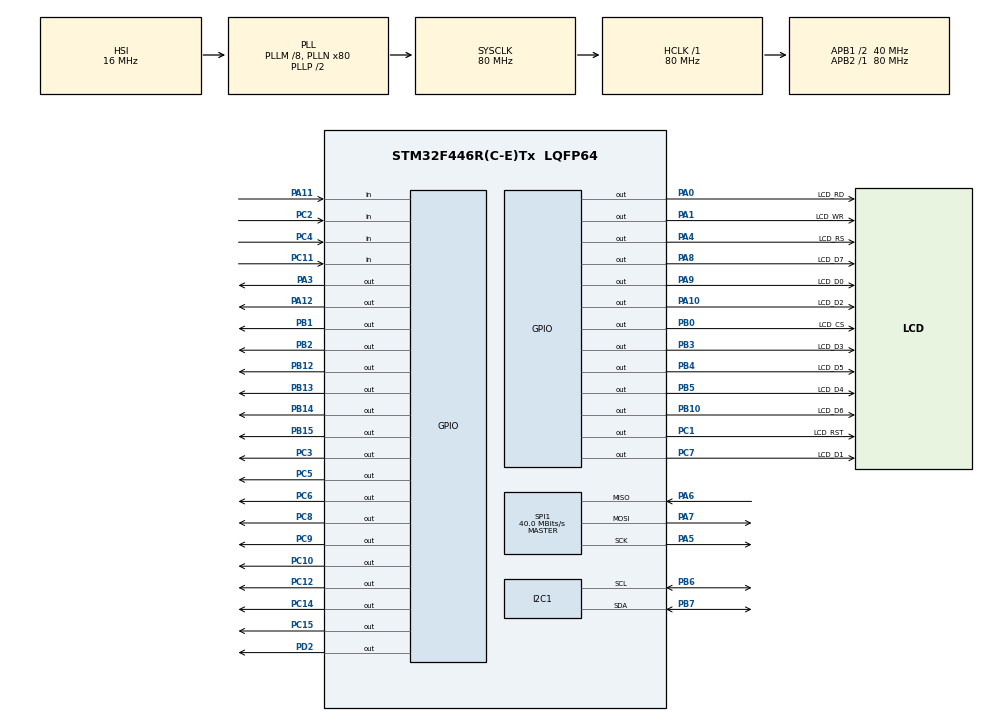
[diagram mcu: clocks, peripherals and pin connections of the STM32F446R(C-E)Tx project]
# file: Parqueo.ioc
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Mcu.Family=STM32F4
Mcu.Name=STM32F446R(C-E)Tx
Mcu.Package=LQFP64
NVIC.PriorityGroup=NVIC_PRIORITYGROUP_4
PA0-WKUP.GPIO_Label=LCD_RD
PA0-WKUP.GPIO_Speed=GPIO_SPEED_FREQ_HIGH
PA0-WKUP.Signal=GPIO_Output
PA1.GPIO_Label=LCD_WR
PA1.GPIO_Speed=GPIO_SPEED_FREQ_HIGH
PA1.Signal=GPIO_Output
PA10.GPIO_Label=LCD_D2
PA10.GPIO_Speed=GPIO_SPEED_FREQ_HIGH
PA10.Signal=GPIO_Output
PA11.Signal=GPIO_Input
PA12.Signal=GPIO_Output
PA13.Mode=Serial_Wire
PA13.Signal=SYS_JTMS-SWDIO
PA14.Mode=Serial_Wire
PA14.Signal=SYS_JTCK-SWCLK
PA3.Signal=GPIO_Output
PA4.GPIO_Label=LCD_RS
PA4.GPIO_Speed=GPIO_SPEED_FREQ_HIGH
PA4.Signal=GPIO_Output
PA5.Mode=Full_Duplex_Master
PA5.Signal=SPI1_SCK
PA6.Mode=Full_Duplex_Master
PA6.Signal=SPI1_MISO
PA7.Mode=Full_Duplex_Master
PA7.Signal=SPI1_MOSI
PA8.GPIO_Label=LCD_D7
PA8.GPIO_Speed=GPIO_SPEED_FREQ_HIGH
PA8.Signal=GPIO_Output
PA9.GPIO_Label=LCD_D0
PA9.GPIO_Speed=GPIO_SPEED_FREQ_HIGH
PA9.Signal=GPIO_Output
PB0.GPIO_Label=LCD_CS
PB0.GPIO_Speed=GPIO_SPEED_FREQ_HIGH
PB0.Signal=GPIO_Output
PB1.Signal=GPIO_Output
PB10.GPIO_Label=LCD_D6
PB10.GPIO_Speed=GPIO_SPEED_FREQ_HIGH
PB10.Signal=GPIO_Output
PB12.Signal=GPIO_Output
PB13.Signal=GPIO_Output
PB14.Signal=GPIO_Output
PB15.Signal=GPIO_Output
PB2.Signal=GPIO_Output
PB3.GPIO_Label=LCD_D3
PB3.GPIO_Speed=GPIO_SPEED_FREQ_HIGH
PB3.Signal=GPIO_Output
PB4.GPIO_Label=LCD_D5
PB4.GPIO_Speed=GPIO_SPEED_FREQ_HIGH
PB4.Signal=GPIO_Output
PB5.GPIO_Label=LCD_D4
PB5.GPIO_Speed=GPIO_SPEED_FREQ_HIGH
PB5.Signal=GPIO_Output
PB6.Mode=I2C
PB6.Signal=I2C1_SCL
PB7.Mode=I2C
PB7.Signal=I2C1_SDA
PC1.GPIO_Label=LCD_RST
PC1.GPIO_Speed=GPIO_SPEED_FREQ_HIGH
PC1.Signal=GPIO_Output
PC10.Signal=GPIO_Output
PC11.Signal=GPIO_Input
PC12.Signal=GPIO_Output
PC14-OSC32_IN.Signal=GPIO_Output
PC15-OSC32_OUT.Signal=GPIO_Output
PC2.Signal=GPIO_Input
PC3.Signal=GPIO_Output
PC4.Signal=GPIO_Input
PC5.Signal=GPIO_Output
PC6.Signal=GPIO_Output
PC7.GPIO_Label=LCD_D1
PC7.GPIO_Speed=GPIO_SPEED_FREQ_HIGH
PC7.Signal=GPIO_Output
PC8.Signal=GPIO_Output
PC9.Signal=GPIO_Output
PD2.Signal=GPIO_Output
PH0-OSC_IN.Mode=HSE-External-Oscillator
PH0-OSC_IN.Signal=RCC_OSC_IN
PH1-OSC_OUT.Mode=HSE-External-Oscillator
PH1-OSC_OUT.Signal=RCC_OSC_OUT
ProjectManager.HeapSize=0x200
ProjectManager.StackSize=0x400
ProjectManager.TargetToolchain=STM32CubeIDE
RCC.AHBFreq_Value=80000000
RCC.APB1CLKDivider=RCC_HCLK_DIV2
RCC.APB1Freq_Value=40000000
RCC.APB1TimFreq_Value=80000000
RCC.APB2Freq_Value=80000000
RCC.APB2TimFreq_Value=80000000
RCC.CortexFreq_Value=80000000
RCC.HCLKFreq_Value=80000000
RCC.PLLM=8
RCC.PLLN=80
RCC.SYSCLKFreq_VALUE=80000000
RCC.SYSCLKSource=RCC_SYSCLKSOURCE_PLLCLK
RCC.USBFreq_Value=80000000
RCC.VCOOutputFreq_Value=160000000
SPI1.CalculateBaudRate=40.0 MBits/s
SPI1.Direction=SPI_DIRECTION_2LINES
SPI1.Mode=SPI_MODE_MASTER
SPI1.VirtualType=VM_MASTER
board=custom

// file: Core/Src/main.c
/* USER CODE BEGIN Header */
/**
 ******************************************************************************
 * @file           : main.c
 * @brief          : Main program body
 ******************************************************************************
 * @attention
 *
 * Copyright (c) 2024 STMicroelectronics.
 * All rights reserved.
 *
 ******************************************************************************
 */
/* USER CODE END Header */
#include "main.h"

/* USER CODE BEGIN Includes */
#include "ili9341.h"
/* USER CODE END Includes */

I2C_HandleTypeDef hi2c1;

SPI_HandleTypeDef hspi1;

/* USER CODE BEGIN PV */
extern uint8_t carro1[];
extern uint8_t carro2[];
extern uint8_t carro3[];
extern uint8_t carro4[];
unsigned int yellow = 0xFFE0; // Código de color amarillo en RGB565
unsigned int red = 0xF800;    // Código de color rojo en RGB565
unsigned int green = 0x07E0;  // Código de color verde en RGB565
int parqueos_disponibles = 4; // Contador de parqueos disponibles (3 por defecto)
uint8_t sensorStates[4] = {0, 0, 0, 0}; // Estado de cada sensor

/* USER CODE END PV */

void SystemClock_Config(void);
static void MX_GPIO_Init(void);
static void MX_SPI1_Init(void);
static void MX_I2C1_Init(void);

/* USER CODE BEGIN 0 */

// Funciones para mostrar números en el display de 7 segmentos
// Función para mostrar "0" en el display de 7 segmentos
// Función para mostrar "0" en el display de 7 segmentos (ánodo común)
// Función para mostrar "0" en el display de 7 segmentos
void Display_ShowZero() {
    HAL_GPIO_WritePin(GPIOB, GPIO_PIN_13, GPIO_PIN_RESET); // Segmento A
    HAL_GPIO_WritePin(GPIOC, GPIO_PIN_5, GPIO_PIN_RESET);  // Segmento B
    HAL_GPIO_WritePin(GPIOB, GPIO_PIN_1, GPIO_PIN_RESET);  // Segmento C
    HAL_GPIO_WritePin(GPIOB, GPIO_PIN_2, GPIO_PIN_RESET);  // Segmento D
    HAL_GPIO_WritePin(GPIOB, GPIO_PIN_12, GPIO_PIN_RESET); // Segmento E
    HAL_GPIO_WritePin(GPIOB, GPIO_PIN_15, GPIO_PIN_RESET); // Segmento F
    HAL_GPIO_WritePin(GPIOC, GPIO_PIN_6, GPIO_PIN_SET);    // Segmento G apagado
}

// Función para mostrar "1" en el display de 7 segmentos
void Display_ShowOne() {
    HAL_GPIO_WritePin(GPIOB, GPIO_PIN_13, GPIO_PIN_SET);   // Segmento A apagado
    HAL_GPIO_WritePin(GPIOC, GPIO_PIN_5, GPIO_PIN_RESET);  // Segmento B
    HAL_GPIO_WritePin(GPIOB, GPIO_PIN_1, GPIO_PIN_RESET);  // Segmento C
    HAL_GPIO_WritePin(GPIOB, GPIO_PIN_2, GPIO_PIN_SET);    // Segmento D apagado
    HAL_GPIO_WritePin(GPIOB, GPIO_PIN_12, GPIO_PIN_SET);   // Segmento E apagado
    HAL_GPIO_WritePin(GPIOB, GPIO_PIN_15, GPIO_PIN_SET);   // Segmento F apagado
    HAL_GPIO_WritePin(GPIOC, GPIO_PIN_6, GPIO_PIN_SET);    // Segmento G apagado
}

// Función para mostrar "2" en el display de 7 segmentos
void Display_ShowTwo() {
    HAL_GPIO_WritePin(GPIOB, GPIO_PIN_13, GPIO_PIN_RESET); // Segmento A
    HAL_GPIO_WritePin(GPIOC, GPIO_PIN_5, GPIO_PIN_RESET);  // Segmento B
    HAL_GPIO_WritePin(GPIOB, GPIO_PIN_1, GPIO_PIN_SET);    // Segmento C apagado
    HAL_GPIO_WritePin(GPIOB, GPIO_PIN_2, GPIO_PIN_RESET);  // Segmento D
    HAL_GPIO_WritePin(GPIOB, GPIO_PIN_12, GPIO_PIN_RESET); // Segmento E
    HAL_GPIO_WritePin(GPIOB, GPIO_PIN_15, GPIO_PIN_SET);   // Segmento F apagado
    HAL_GPIO_WritePin(GPIOC, GPIO_PIN_6, GPIO_PIN_RESET);  // Segmento G
}

// Función para mostrar "3" en el display de 7 segmentos
void Display_ShowThree() {
    HAL_GPIO_WritePin(GPIOB, GPIO_PIN_13, GPIO_PIN_RESET); // Segmento A
    HAL_GPIO_WritePin(GPIOC, GPIO_PIN_5, GPIO_PIN_RESET);  // Segmento B
    HAL_GPIO_WritePin(GPIOB, GPIO_PIN_1, GPIO_PIN_RESET);  // Segmento C
    HAL_GPIO_WritePin(GPIOB, GPIO_PIN_2, GPIO_PIN_RESET);  // Segmento D
    HAL_GPIO_WritePin(GPIOB, GPIO_PIN_12, GPIO_PIN_SET);   // Segmento E apagado
    HAL_GPIO_WritePin(GPIOB, GPIO_PIN_15, GPIO_PIN_SET);   // Segmento F apagado
    HAL_GPIO_WritePin(GPIOC, GPIO_PIN_6, GPIO_PIN_RESET);  // Segmento G
}

// Función para mostrar "4" en el display de 7 segmentos
void Display_ShowFour() {
    HAL_GPIO_WritePin(GPIOB, GPIO_PIN_13, GPIO_PIN_SET);   // Segmento A apagado
    HAL_GPIO_WritePin(GPIOC, GPIO_PIN_5, GPIO_PIN_RESET);  // Segmento B
    HAL_GPIO_WritePin(GPIOB, GPIO_PIN_1, GPIO_PIN_RESET);  // Segmento C
    HAL_GPIO_WritePin(GPIOB, GPIO_PIN_2, GPIO_PIN_SET);    // Segmento D apagado
    HAL_GPIO_WritePin(GPIOB, GPIO_PIN_12, GPIO_PIN_SET);   // Segmento E apagado
    HAL_GPIO_WritePin(GPIOB, GPIO_PIN_15, GPIO_PIN_RESET); // Segmento F
    HAL_GPIO_WritePin(GPIOC, GPIO_PIN_6, GPIO_PIN_RESET);  // Segmento G
}

/* USER CODE END 0 */

int main(void)
{

  /* MCU Configuration--------------------------------------------------------*/

  /* Reset of all peripherals, Initializes the Flash interface and the Systick. */
  HAL_Init();

  /* Configure the system clock */
  SystemClock_Config();

  /* Initialize all configured peripherals */
  MX_GPIO_Init();
  MX_SPI1_Init();
  MX_I2C1_Init();
  /* USER CODE BEGIN 2 */
  // Inicializar la pantalla
  LCD_Init();
  FillRect(0, 0, 320, 240, 0x0000); // Fondo negro

  // Mostrar los carros en sus posiciones iniciales
  LCD_Bitmap(150, 30, 70, 70, carro1);  // Carro 1
  LCD_Bitmap(160, 160, 50, 50, carro2); // Carro 2
  LCD_Bitmap(40, 30, 70, 70, carro3);   // Carro 3
  LCD_Bitmap(40, 150, 80, 80, carro4);  // Carro 4

  // Líneas amarillas para cada espacio de estacionamiento
  // Configuración de las líneas amarillas para cada carro...

  // Mostrar el texto "Disponibles" en la parte derecha y el contador debajo
  LCD_Print("Disponibles", 225, 120, 1, yellow, 0x0000); // Texto en la derecha

  /* USER CODE END 2 */

  /* Infinite loop */
  /* USER CODE BEGIN WHILE */
  while (1) {
          parqueos_disponibles = 4;

          // Carro 1
          GPIO_PinState sensor1State = HAL_GPIO_ReadPin(GPIOC, GPIO_PIN_4);
          if (sensor1State == GPIO_PIN_RESET) {
              sensorStates[0] = 1; // Ocupado
              LCD_Bitmap(150, 30, 70, 70, carro1);
              FillRect(155, 110, 20, 20, red);
              HAL_GPIO_WritePin(GPIOC, GPIO_PIN_8, GPIO_PIN_SET);  // LED ROJO Carro 1
              HAL_GPIO_WritePin(GPIOA, GPIO_PIN_12, GPIO_PIN_RESET); // LED VERDE Carro 1
              parqueos_disponibles--;
          } else {
              sensorStates[0] = 0; // Disponible
              FillRect(150, 30, 70, 70, 0x0000);
              FillRect(155, 110, 20, 20, green);
              HAL_GPIO_WritePin(GPIOC, GPIO_PIN_8, GPIO_PIN_RESET);
              HAL_GPIO_WritePin(GPIOA, GPIO_PIN_12, GPIO_PIN_SET);
          }

          // Carro 2
          GPIO_PinState sensor2State = HAL_GPIO_ReadPin(GPIOA, GPIO_PIN_11);
          if (sensor2State == GPIO_PIN_RESET) {
              sensorStates[1] = 1;
              LCD_Bitmap(160, 160, 50, 50, carro2);
              FillRect(165, 220, 20, 20, red);
              HAL_GPIO_WritePin(GPIOB, GPIO_PIN_14, GPIO_PIN_SET);
              HAL_GPIO_WritePin(GPIOC, GPIO_PIN_3, GPIO_PIN_RESET);
              parqueos_disponibles--;
          } else {
              sensorStates[1] = 0;
              FillRect(160, 160, 50, 50, 0x0000);
              FillRect(165, 220, 20, 20, green);
              HAL_GPIO_WritePin(GPIOB, GPIO_PIN_14, GPIO_PIN_RESET);
              HAL_GPIO_WritePin(GPIOC, GPIO_PIN_3, GPIO_PIN_SET);
          }

          // Carro 3
          GPIO_PinState sensor3State = HAL_GPIO_ReadPin(GPIOC, GPIO_PIN_2);
          if (sensor3State == GPIO_PIN_RESET) {
              sensorStates[2] = 1;
              LCD_Bitmap(40, 30, 70, 70, carro3);
              FillRect(50, 110, 20, 20, red);
              HAL_GPIO_WritePin(GPIOC, GPIO_PIN_10, GPIO_PIN_SET);
              HAL_GPIO_WritePin(GPIOC, GPIO_PIN_12, GPIO_PIN_RESET);
              parqueos_disponibles--;
          } else {
              sensorStates[2] = 0;
              FillRect(40, 30, 70, 70, 0x0000);
              FillRect(50, 110, 20, 20, green);
              HAL_GPIO_WritePin(GPIOC, GPIO_PIN_10, GPIO_PIN_RESET);
              HAL_GPIO_WritePin(GPIOC, GPIO_PIN_12, GPIO_PIN_SET);
          }

          // Carro 4
          GPIO_PinState sensor4State = HAL_GPIO_ReadPin(GPIOC, GPIO_PIN_11);
          if (sensor4State == GPIO_PIN_RESET) {
              sensorStates[3] = 1;
              LCD_Bitmap(40, 150, 80, 80, carro4);
              FillRect(50, 220, 20, 20, red);
              HAL_GPIO_WritePin(GPIOC, GPIO_PIN_9, GPIO_PIN_SET);
              HAL_GPIO_WritePin(GPIOD, GPIO_PIN_2, GPIO_PIN_RESET);
              parqueos_disponibles--;
          } else {
              sensorStates[3] = 0;
              FillRect(40, 150, 80, 80, 0x0000);
              FillRect(50, 220, 20, 20, green);
              HAL_GPIO_WritePin(GPIOC, GPIO_PIN_9, GPIO_PIN_RESET);
              HAL_GPIO_WritePin(GPIOD, GPIO_PIN_2, GPIO_PIN_SET);
          }

          // Asegurarse de que el contador no sea negativo
          if (parqueos_disponibles < 0) parqueos_disponibles = 0;

          // Actualizar el display de 7 segmentos
          switch(parqueos_disponibles) {
              case 4: Display_ShowFour(); break;
              case 3: Display_ShowThree(); break;
              case 2: Display_ShowTwo(); break;
              case 1: Display_ShowOne(); break;
              case 0: Display_ShowZero(); break;
          }

          // Enviar los estados de los sensores al ESP32 a través de I2C
          HAL_I2C_Master_Transmit(&hi2c1, (0x08 << 1), sensorStates, 4, HAL_MAX_DELAY);

          // Actualizar el contador de parqueos disponibles en pantalla LCD
          char display_text[2];
          sprintf(display_text, "%d", parqueos_disponibles);
          LCD_Print(display_text, 270, 135, 1, yellow, 0x0000);

          HAL_Delay(100);
    /* USER CODE END WHILE */

  }
}

void SystemClock_Config(void)
{
  RCC_OscInitTypeDef RCC_OscInitStruct = {0};
  RCC_ClkInitTypeDef RCC_ClkInitStruct = {0};

  /** Configure the main internal regulator output voltage
  */
  __HAL_RCC_PWR_CLK_ENABLE();
  __HAL_PWR_VOLTAGESCALING_CONFIG(PWR_REGULATOR_VOLTAGE_SCALE3);

  /** Initializes the RCC Oscillators according to the specified parameters
  * in the RCC_OscInitTypeDef structure.
  */
  RCC_OscInitStruct.OscillatorType = RCC_OSCILLATORTYPE_HSI;
  RCC_OscInitStruct.HSIState = RCC_HSI_ON;
  RCC_OscInitStruct.HSICalibrationValue = RCC_HSICALIBRATION_DEFAULT;
  RCC_OscInitStruct.PLL.PLLState = RCC_PLL_ON;
  RCC_OscInitStruct.PLL.PLLSource = RCC_PLLSOURCE_HSI;
  RCC_OscInitStruct.PLL.PLLM = 8;
  RCC_OscInitStruct.PLL.PLLN = 80;
  RCC_OscInitStruct.PLL.PLLP = RCC_PLLP_DIV2;
  RCC_OscInitStruct.PLL.PLLQ = 2;
  RCC_OscInitStruct.PLL.PLLR = 2;
  if (HAL_RCC_OscConfig(&RCC_OscInitStruct) != HAL_OK)
  {
    Error_Handler();
  }

  /** Initializes the CPU, AHB and APB buses clocks
  */
  RCC_ClkInitStruct.ClockType = RCC_CLOCKTYPE_HCLK|RCC_CLOCKTYPE_SYSCLK
                              |RCC_CLOCKTYPE_PCLK1|RCC_CLOCKTYPE_PCLK2;
  RCC_ClkInitStruct.SYSCLKSource = RCC_SYSCLKSOURCE_PLLCLK;
  RCC_ClkInitStruct.AHBCLKDivider = RCC_SYSCLK_DIV1;
  RCC_ClkInitStruct.APB1CLKDivider = RCC_HCLK_DIV2;
  RCC_ClkInitStruct.APB2CLKDivider = RCC_HCLK_DIV1;

  if (HAL_RCC_ClockConfig(&RCC_ClkInitStruct, FLASH_LATENCY_2) != HAL_OK)
  {
    Error_Handler();
  }
}

static void MX_I2C1_Init(void)
{

  hi2c1.Instance = I2C1;
  hi2c1.Init.ClockSpeed = 100000;
  hi2c1.Init.DutyCycle = I2C_DUTYCYCLE_2;
  hi2c1.Init.OwnAddress1 = 0;
  hi2c1.Init.AddressingMode = I2C_ADDRESSINGMODE_7BIT;
  hi2c1.Init.DualAddressMode = I2C_DUALADDRESS_DISABLE;
  hi2c1.Init.OwnAddress2 = 0;
  hi2c1.Init.GeneralCallMode = I2C_GENERALCALL_DISABLE;
  hi2c1.Init.NoStretchMode = I2C_NOSTRETCH_DISABLE;
  if (HAL_I2C_Init(&hi2c1) != HAL_OK)
  {
    Error_Handler();
  }

}

static void MX_SPI1_Init(void)
{

  /* SPI1 parameter configuration*/
  hspi1.Instance = SPI1;
  hspi1.Init.Mode = SPI_MODE_MASTER;
  hspi1.Init.Direction = SPI_DIRECTION_2LINES;
  hspi1.Init.DataSize = SPI_DATASIZE_8BIT;
  hspi1.Init.CLKPolarity = SPI_POLARITY_LOW;
  hspi1.Init.CLKPhase = SPI_PHASE_1EDGE;
  hspi1.Init.NSS = SPI_NSS_SOFT;
  hspi1.Init.BaudRatePrescaler = SPI_BAUDRATEPRESCALER_2;
  hspi1.Init.FirstBit = SPI_FIRSTBIT_MSB;
  hspi1.Init.TIMode = SPI_TIMODE_DISABLE;
  hspi1.Init.CRCCalculation = SPI_CRCCALCULATION_DISABLE;
  hspi1.Init.CRCPolynomial = 10;
  if (HAL_SPI_Init(&hspi1) != HAL_OK)
  {
    Error_Handler();
  }

}

static void MX_GPIO_Init(void)
{
  GPIO_InitTypeDef GPIO_InitStruct = {0};

  /* GPIO Ports Clock Enable */
  __HAL_RCC_GPIOC_CLK_ENABLE();
  __HAL_RCC_GPIOH_CLK_ENABLE();
  __HAL_RCC_GPIOA_CLK_ENABLE();
  __HAL_RCC_GPIOB_CLK_ENABLE();
  __HAL_RCC_GPIOD_CLK_ENABLE();

  /*Configure GPIO pin Output Level */
  HAL_GPIO_WritePin(GPIOC, GPIO_PIN_14|GPIO_PIN_15|LCD_RST_Pin|GPIO_PIN_3
                          |GPIO_PIN_5|GPIO_PIN_6|LCD_D1_Pin|GPIO_PIN_8
                          |GPIO_PIN_9|GPIO_PIN_10|GPIO_PIN_12, GPIO_PIN_RESET);

  /*Configure GPIO pin Output Level */
  HAL_GPIO_WritePin(GPIOA, LCD_RD_Pin|LCD_WR_Pin|GPIO_PIN_3|LCD_RS_Pin
                          |LCD_D7_Pin|LCD_D0_Pin|LCD_D2_Pin|GPIO_PIN_12, GPIO_PIN_RESET);

  /*Configure GPIO pin Output Level */
  HAL_GPIO_WritePin(GPIOB, LCD_CS_Pin|GPIO_PIN_1|GPIO_PIN_2|LCD_D6_Pin
                          |GPIO_PIN_12|GPIO_PIN_13|GPIO_PIN_14|GPIO_PIN_15
                          |LCD_D3_Pin|LCD_D5_Pin|LCD_D4_Pin, GPIO_PIN_RESET);

  /*Configure GPIO pin Output Level */
  HAL_GPIO_WritePin(GPIOD, GPIO_PIN_2, GPIO_PIN_RESET);

  /*Configure GPIO pins : PC14 PC15 PC3 PC5
                           PC6 PC8 PC9 PC10
                           PC12 */
  GPIO_InitStruct.Pin = GPIO_PIN_14|GPIO_PIN_15|GPIO_PIN_3|GPIO_PIN_5
                          |GPIO_PIN_6|GPIO_PIN_8|GPIO_PIN_9|GPIO_PIN_10
                          |GPIO_PIN_12;
  GPIO_InitStruct.Mode = GPIO_MODE_OUTPUT_PP;
  GPIO_InitStruct.Pull = GPIO_NOPULL;
  GPIO_InitStruct.Speed = GPIO_SPEED_FREQ_LOW;
  HAL_GPIO_Init(GPIOC, &GPIO_InitStruct);

  /*Configure GPIO pins : LCD_RST_Pin LCD_D1_Pin */
  GPIO_InitStruct.Pin = LCD_RST_Pin|LCD_D1_Pin;
  GPIO_InitStruct.Mode = GPIO_MODE_OUTPUT_PP;
  GPIO_InitStruct.Pull = GPIO_NOPULL;
  GPIO_InitStruct.Speed = GPIO_SPEED_FREQ_HIGH;
  HAL_GPIO_Init(GPIOC, &GPIO_InitStruct);

  /*Configure GPIO pins : PC2 PC4 PC11 */
  GPIO_InitStruct.Pin = GPIO_PIN_2|GPIO_PIN_4|GPIO_PIN_11;
  GPIO_InitStruct.Mode = GPIO_MODE_INPUT;
  GPIO_InitStruct.Pull = GPIO_NOPULL;
  HAL_GPIO_Init(GPIOC, &GPIO_InitStruct);

  /*Configure GPIO pins : LCD_RD_Pin LCD_WR_Pin LCD_RS_Pin LCD_D7_Pin
                           LCD_D0_Pin LCD_D2_Pin */
  GPIO_InitStruct.Pin = LCD_RD_Pin|LCD_WR_Pin|LCD_RS_Pin|LCD_D7_Pin
                          |LCD_D0_Pin|LCD_D2_Pin;
  GPIO_InitStruct.Mode = GPIO_MODE_OUTPUT_PP;
  GPIO_InitStruct.Pull = GPIO_NOPULL;
  GPIO_InitStruct.Speed = GPIO_SPEED_FREQ_HIGH;
  HAL_GPIO_Init(GPIOA, &GPIO_InitStruct);

  /*Configure GPIO pins : PA3 PA12 */
  GPIO_InitStruct.Pin = GPIO_PIN_3|GPIO_PIN_12;
  GPIO_InitStruct.Mode = GPIO_MODE_OUTPUT_PP;
  GPIO_InitStruct.Pull = GPIO_NOPULL;
  GPIO_InitStruct.Speed = GPIO_SPEED_FREQ_LOW;
  HAL_GPIO_Init(GPIOA, &GPIO_InitStruct);

  /*Configure GPIO pins : LCD_CS_Pin LCD_D6_Pin LCD_D3_Pin LCD_D5_Pin
                           LCD_D4_Pin */
  GPIO_InitStruct.Pin = LCD_CS_Pin|LCD_D6_Pin|LCD_D3_Pin|LCD_D5_Pin
                          |LCD_D4_Pin;
  GPIO_InitStruct.Mode = GPIO_MODE_OUTPUT_PP;
  GPIO_InitStruct.Pull = GPIO_NOPULL;
  GPIO_InitStruct.Speed = GPIO_SPEED_FREQ_HIGH;
  HAL_GPIO_Init(GPIOB, &GPIO_InitStruct);

  /*Configure GPIO pins : PB1 PB2 PB12 PB13
                           PB14 PB15 */
  GPIO_InitStruct.Pin = GPIO_PIN_1|GPIO_PIN_2|GPIO_PIN_12|GPIO_PIN_13
                          |GPIO_PIN_14|GPIO_PIN_15;
  GPIO_InitStruct.Mode = GPIO_MODE_OUTPUT_PP;
  GPIO_InitStruct.Pull = GPIO_NOPULL;
  GPIO_InitStruct.Speed = GPIO_SPEED_FREQ_LOW;
  HAL_GPIO_Init(GPIOB, &GPIO_InitStruct);

  /*Configure GPIO pin : PA11 */
  GPIO_InitStruct.Pin = GPIO_PIN_11;
  GPIO_InitStruct.Mode = GPIO_MODE_INPUT;
  GPIO_InitStruct.Pull = GPIO_NOPULL;
  HAL_GPIO_Init(GPIOA, &GPIO_InitStruct);

  /*Configure GPIO pin : PD2 */
  GPIO_InitStruct.Pin = GPIO_PIN_2;
  GPIO_InitStruct.Mode = GPIO_MODE_OUTPUT_PP;
  GPIO_InitStruct.Pull = GPIO_NOPULL;
  GPIO_InitStruct.Speed = GPIO_SPEED_FREQ_LOW;
  HAL_GPIO_Init(GPIOD, &GPIO_InitStruct);

}

void Error_Handler(void)
{
	__disable_irq();
	while (1) {
	}
}
